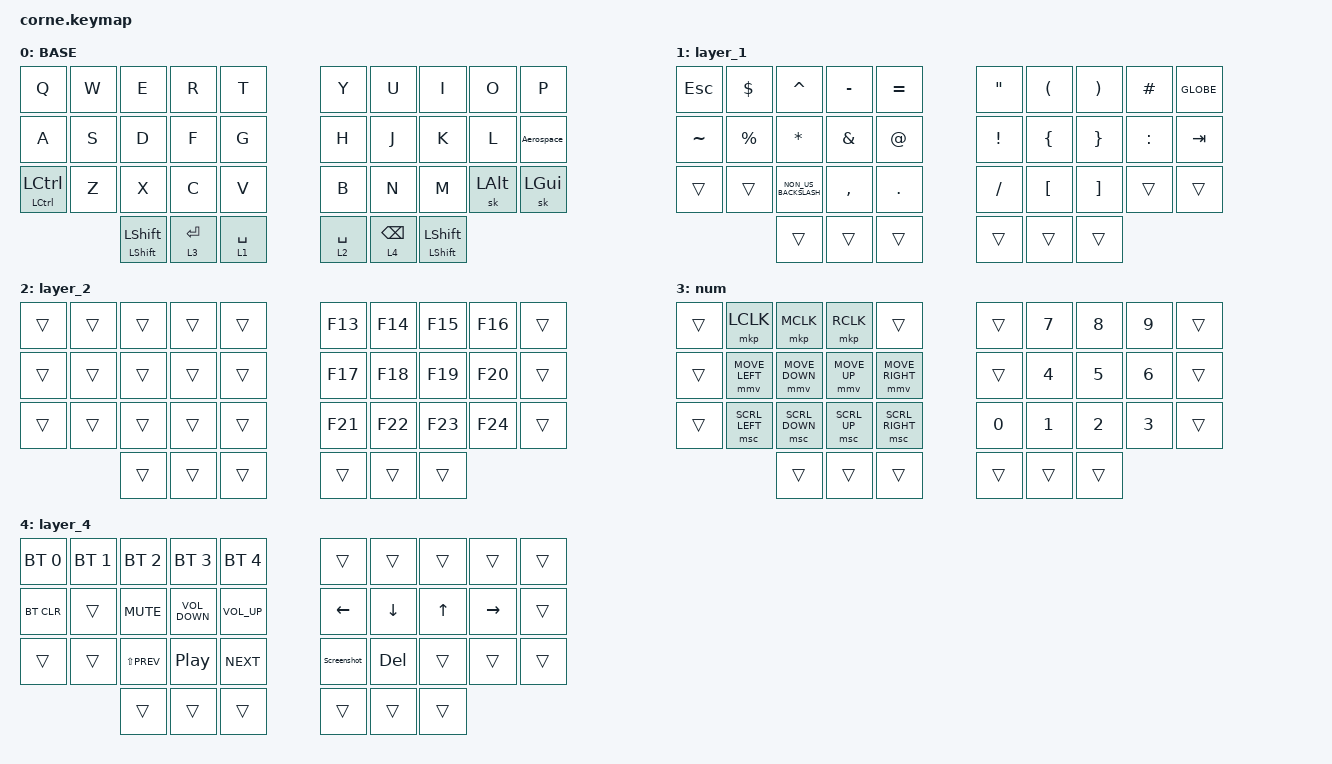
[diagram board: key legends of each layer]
// ZMK Core

#include <behaviors.dtsi>
#include <dt-bindings/zmk/bt.h>
#include <dt-bindings/zmk/keys.h>
#include <dt-bindings/zmk/pointing.h>
#include "includes/base.dtsi"
#include "includes/settings.dtsi"
#include "includes/combos_corne.dtsi"
#include "includes/macros.dtsi"
#include "includes/mouse.dtsi"
#include "includes/behaviors_extra.dtsi"
#include "includes/conditional_layers.dtsi"
#include "includes/settings_pd.dtsi"

/ {
    chosen { zmk,matrix_transform = &five_column_transform; };

    combos {
        compatible = "zmk,combos";

        Macsleep {
            bindings = <&Macscleep>;
            key-positions = <20 29>;
        };
    };

    macros {
        Macscleep: Macscleep {
            compatible = "zmk,behavior-macro";
            #binding-cells = <0>;
            bindings = <&kp LEFT_GUI &kp LEFT_CONTROL &kp Q>;
            label = "MACSCLEEP";
        };

        Screenshot: Screenshot {
            compatible = "zmk,behavior-macro";
            #binding-cells = <0>;
            bindings = <&kp LEFT_CONTROL &kp LEFT_ALT &kp S>;
            label = "SCREENSHOT";
        };

        Aerospace: Aerospace {
            compatible = "zmk,behavior-macro";
            #binding-cells = <0>;
            wait-ms = <0>;
            tap-ms = <0>;
            bindings =
                <&macro_press &kp LEFT_CONTROL &kp LEFT_ALT &kp LEFT_COMMAND>,
                <&macro_pause_for_release>,
                <&macro_release &kp LEFT_CONTROL &kp LEFT_ALT &kp LEFT_COMMAND>;
            label = "AEROSPACE";
        };
    };

    keymap {
        compatible = "zmk,keymap";

        default {
            display-name = "BASE";
            bindings = <
  &kp Q                          &kp W  &kp E                      &kp R        &kp T          &kp Y        &kp U            &kp I                      &kp O         &kp P
  &kp A                          &kp S  &kp D                      &kp F        &kp G          &kp H        &kp J            &kp K                      &kp L         &Aerospace
  &mt LEFT_CONTROL LEFT_CONTROL  &kp Z  &kp X                      &kp C        &kp V          &kp B        &kp N            &kp M                      &sk LEFT_ALT  &sk LEFT_GUI
                                        &mt LEFT_SHIFT LEFT_SHIFT  &lt 3 ENTER  &lt 1 SPACE    &lt 2 SPACE  &lt 4 BACKSPACE  &mt LEFT_SHIFT LEFT_SHIFT
            >;
        };

        layer_1 {
            bindings = <
  &kp ESCAPE  &kp DOLLAR   &kp CARET             &kp MINUS      &kp EQUAL      &kp DOUBLE_QUOTES  &kp LEFT_PARENTHESIS  &kp RIGHT_PARENTHESIS  &kp HASH   &kp GLOBE
  &kp TILDE   &kp PERCENT  &kp ASTERISK          &kp AMPERSAND  &kp AT_SIGN    &kp EXCLAMATION    &kp LEFT_BRACE        &kp RIGHT_BRACE        &kp COLON  &kp TAB
  &trans      &trans       &kp NON_US_BACKSLASH  &kp COMMA      &kp DOT        &kp SLASH          &kp LEFT_BRACKET      &kp RIGHT_BRACKET      &trans     &trans
                           &trans                &trans         &trans         &trans             &trans                &trans
            >;
        };

        layer_2 {
            bindings = <
  &trans  &trans  &trans  &trans  &trans    &kp F13  &kp F14  &kp F15  &kp F16  &trans
  &trans  &trans  &trans  &trans  &trans    &kp F17  &kp F18  &kp F19  &kp F20  &trans
  &trans  &trans  &trans  &trans  &trans    &kp F21  &kp F22  &kp F23  &kp F24  &trans
                  &trans  &trans  &trans    &trans   &trans   &trans
            >;
        };

        num {
            bindings = <
  &trans  &mkp LCLK       &mkp MCLK       &mkp RCLK     &trans             &trans        &kp NUMBER_7  &kp NUMBER_8  &kp NUMBER_9  &trans
  &trans  &mmv MOVE_LEFT  &mmv MOVE_DOWN  &mmv MOVE_UP  &mmv MOVE_RIGHT    &trans        &kp NUMBER_4  &kp NUMBER_5  &kp NUMBER_6  &trans
  &trans  &msc SCRL_LEFT  &msc SCRL_DOWN  &msc SCRL_UP  &msc SCRL_RIGHT    &kp NUMBER_0  &kp NUMBER_1  &kp NUMBER_2  &kp NUMBER_3  &trans
                          &trans          &trans        &trans             &trans        &trans        &trans
            >;
        };

        layer_4 {
            bindings = <
  &bt BT_SEL 0  &bt BT_SEL 1  &bt BT_SEL 2    &bt BT_SEL 3       &bt BT_SEL 4    &trans          &trans          &trans        &trans           &trans
  &bt BT_CLR    &trans        &kp K_MUTE      &kp C_VOLUME_DOWN  &kp C_VOL_UP    &kp LEFT_ARROW  &kp DOWN_ARROW  &kp UP_ARROW  &kp RIGHT_ARROW  &trans
  &trans        &trans        &kp LS(C_PREV)  &kp C_PLAY_PAUSE   &kp C_NEXT      &Screenshot     &kp DELETE      &trans        &trans           &trans
                              &trans          &trans             &trans          &trans          &trans          &trans
            >;
        };
    };
};
